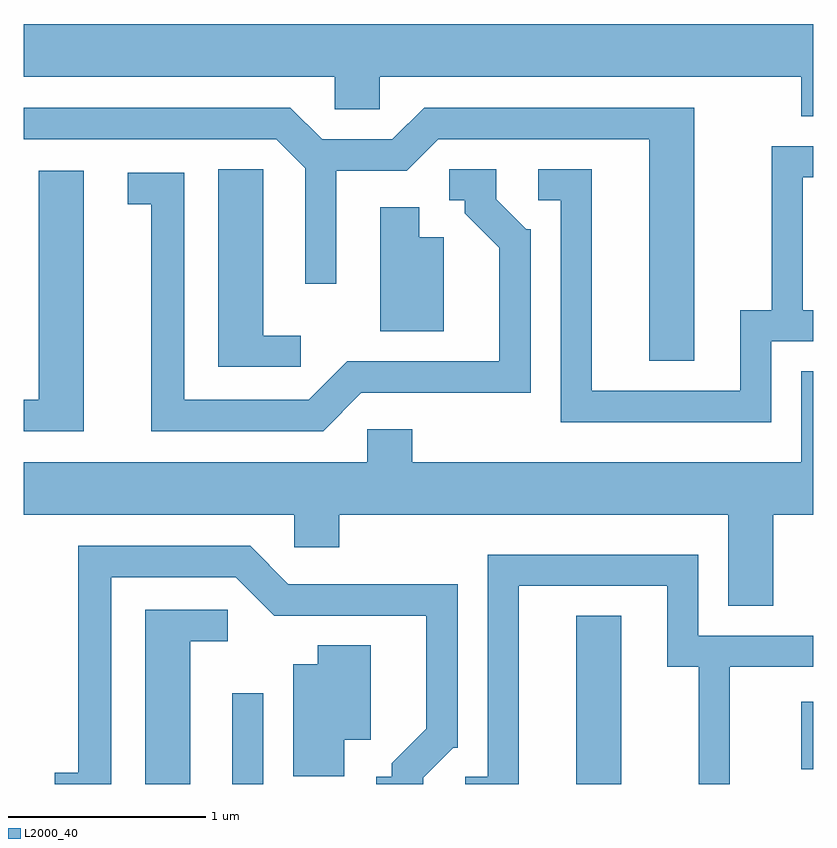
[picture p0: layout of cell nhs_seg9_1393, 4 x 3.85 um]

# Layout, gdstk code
import gdstk
lib = gdstk.Library(unit=1e-6, precision=1e-09)
def R(c, l, rs):  # rectangles x0, y0, x1, y1
    for r in rs: c.add(gdstk.rectangle(r[:2], r[2:], *l))
def P(c, l, *ps):  # polygons
    for p in ps: c.add(gdstk.Polygon(p, *l))
L2000_40 = (2000, 40)

nhs_seg9_1393 = lib.new_cell('nhs_seg9_1393')
R(nhs_seg9_1393, L2000_40, [(226.666,2010.432,226.824,2010.893), (228.411,2010.432,228.639,2011.284), (229.551,2010.506,229.611,2010.849)])
P(nhs_seg9_1393, L2000_40, [(229.611,2014.284),(225.611,2014.284),(225.611,2014.016),(227.186,2014.016),(227.186,2013.851),(227.414,2013.851),(227.414,2014.016),(229.551,2014.016),(229.551,2013.816),(229.611,2013.816)],
  [(229.009,2013.859),(227.639,2013.859),(227.479,2013.699),(227.122,2013.699),(226.962,2013.859),(225.611,2013.859),(225.611,2013.701),(226.889,2013.701),(227.036,2013.554),(227.036,2012.968),(227.194,2012.968),(227.194,2013.541),(227.552,2013.541),(227.712,2013.701),(228.781,2013.701),(228.781,2012.576),(229.009,2012.576)],
  [(229.399,2012.676),(229.611,2012.676),(229.611,2012.834),(229.559,2012.834),(229.559,2013.506),(229.611,2013.506),(229.611,2013.664),(229.401,2013.664),(229.401,2012.834),(229.241,2012.834),(229.241,2012.424),(228.489,2012.424),(228.489,2013.549),(228.218,2013.549),(228.218,2013.391),(228.331,2013.391),(228.331,2012.266),(229.399,2012.266)],
  [(227.322,2012.416),(228.179,2012.416),(228.179,2013.244),(228.157,2013.244),(228.004,2013.397),(228.004,2013.549),(227.768,2013.549),(227.768,2013.391),(227.846,2013.391),(227.846,2013.324),(228.021,2013.149),(228.021,2012.574),(227.249,2012.574),(227.054,2012.379),(226.424,2012.379),(226.424,2013.529),(226.138,2013.529),(226.138,2013.371),(226.256,2013.371),(226.256,2012.221),(227.127,2012.221)],
  [(227.013,2012.704),(226.824,2012.704),(226.824,2013.549),(226.596,2013.549),(226.596,2012.546),(227.013,2012.546)],
  [(225.914,2013.539),(225.686,2013.539),(225.686,2012.379),(225.611,2012.379),(225.611,2012.221),(225.914,2012.221)],
  [(227.739,2013.204),(227.614,2013.204),(227.614,2013.354),(227.416,2013.354),(227.416,2012.726),(227.739,2012.726)],
  [(229.409,2011.796),(229.611,2011.796),(229.611,2012.524),(229.551,2012.524),(229.551,2012.064),(227.579,2012.064),(227.579,2012.229),(227.351,2012.229),(227.351,2012.064),(225.611,2012.064),(225.611,2011.796),(226.981,2011.796),(226.981,2011.631),(227.209,2011.631),(227.209,2011.796),(229.181,2011.796),(229.181,2011.336),(229.409,2011.336)],
  [(226.054,2011.481),(226.684,2011.481),(226.879,2011.286),(227.651,2011.286),(227.651,2010.712),(227.476,2010.537),(227.476,2010.469),(227.398,2010.469),(227.398,2010.432),(227.634,2010.432),(227.634,2010.464),(227.787,2010.616),(227.809,2010.616),(227.809,2011.444),(226.952,2011.444),(226.757,2011.639),(225.886,2011.639),(225.886,2010.489),(225.768,2010.489),(225.768,2010.432),(226.054,2010.432)],
  [(228.119,2011.436),(228.871,2011.436),(228.871,2011.026),(229.031,2011.026),(229.031,2010.432),(229.189,2010.432),(229.189,2011.026),(229.611,2011.026),(229.611,2011.184),(229.029,2011.184),(229.029,2011.594),(227.961,2011.594),(227.961,2010.469),(227.848,2010.469),(227.848,2010.432),(228.119,2010.432)],
  [(226.454,2011.156),(226.643,2011.156),(226.643,2011.314),(226.226,2011.314),(226.226,2010.432),(226.454,2010.432)],
  [(227.234,2010.656),(227.369,2010.656),(227.369,2011.134),(227.101,2011.134),(227.101,2011.039),(226.976,2011.039),(226.976,2010.471),(227.234,2010.471)])

lib.write_gds('nhs_seg9_1393.gds')
